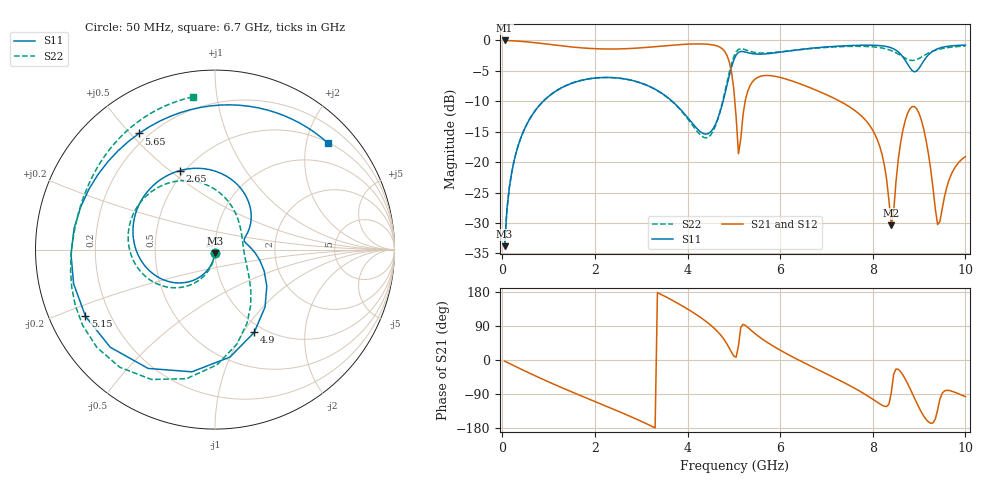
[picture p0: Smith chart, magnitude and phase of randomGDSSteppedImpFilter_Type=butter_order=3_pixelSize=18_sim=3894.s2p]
! freq	dB(S11)	phase(S11)	dB(S12)	phase(S12)
!  dB(S21)	phase(S21)	dB(S22)	phase(S22)
!S-par simulation data
#  GHz  S  DB  R 50
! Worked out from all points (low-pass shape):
!   200 points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, 50 MHz to 10 GHz, reference 50 ohm
!   highest |S21| = 0.00 dB at 50 MHz (marker M1); lowest = -30.4 dB at 8.4 GHz (marker M2)
!   |S21| within 3 dB of the highest: start of sweep to 4.877 GHz
!   lowest |S11| = -33.8 dB at 50 MHz (marker M3), VSWR 1.04, Z = 49.8 - j2.03 ohm
!   |S11| at or under -10 dB: start of sweep to 884 MHz; 3.67 GHz to 4.767 GHz (1.097 GHz wide, 26 % of centre)
!   |S22| runs from -33.8 to -0.9 dB; largest |S21 - S12| = 0
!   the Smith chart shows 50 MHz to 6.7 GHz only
!   S11 on the Smith chart (normalised r, x): 50 MHz: 1.00, -0.04; 2.65 GHz: 0.47, +0.54; 4.9 GHz: 0.90, -1.12; 5.15 GHz: 0.11, -0.24; 5.65 GHz: 0.16, +0.53; 6.7 GHz: 0.51, +2.42
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0.05  -33.80 -93.2  -0.00 -3.0  -0.00 -3.0  -33.79 -92.7
0.2  -21.83 -103.2  -0.05 -12.0  -0.05 -12.0  -21.82 -101.4
0.5  -14.22 -122.5  -0.21 -29.7  -0.21 -29.7  -14.21 -117.9
1.75  -6.49 164.4  -1.24 -96.9  -1.24 -96.9  -6.48 -179.3
2.65  -6.34 114.2  -1.37 -142.8  -1.37 -142.8  -6.33 139.6
3.4  -8.46 69.4  -0.96 174.8  -0.96 174.8  -8.48 101.1
4.45  -15.30 14.2  -0.64 97.0  -0.64 97.0  -15.90 -1.2
4.9  -5.84 -64.6  -3.48 31.7  -3.48 31.7  -5.33 -77.0
5.05  -2.39 -119.4  -12.68 7.5  -12.68 7.5  -1.88 -116.1
5.15  -1.81 -152.8  -16.14 86.2  -16.14 86.2  -1.37 -140.4
5.3  -2.01 171.4  -8.34 86.2  -8.34 86.2  -1.67 -165.4
5.65  -2.23 123.2  -5.78 52.3  -5.78 52.3  -2.08 162.3
6.7  -1.26 43.4  -7.93 -18.5  -7.93 -18.5  -1.31 98.1
7.55  -0.83 -6.7  -11.17 -70.6  -11.17 -70.6  -0.97 43.3
8.05  -0.80 -39.9  -15.47 -107.5  -15.47 -107.5  -1.08 -2.3
8.35  -1.10 -68.5  -26.37 -116.2  -26.37 -116.2  -1.54 -44.9
8.4  -1.22 -74.9  -30.39 -86.2  -30.39 -86.2  -1.67 -54.0
8.6  -2.24 -109.1  -16.86 -30.6  -16.86 -30.6  -2.46 -98.0
8.8  -4.47 -169.6  -11.26 -74.0  -11.26 -74.0  -3.24 -150.8
9.05  -3.96 81.0  -13.12 -137.6  -13.12 -137.6  -2.74 148.1
9.4  -1.37 4.9  -30.24 -131.7  -30.24 -131.7  -1.51 87.2
10  -0.77 -41.6  -19.08 -96.6  -19.08 -96.6  -0.93 30.0
